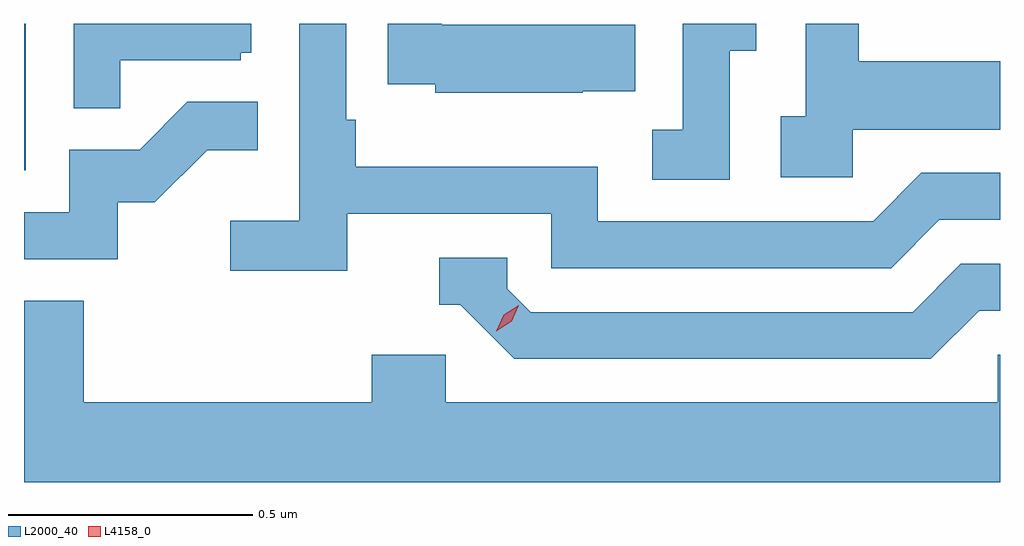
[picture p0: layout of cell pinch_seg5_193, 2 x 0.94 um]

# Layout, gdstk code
import gdstk
lib = gdstk.Library(unit=1e-6, precision=1e-09)
def R(c, l, rs):  # rectangles x0, y0, x1, y1
    for r in rs: c.add(gdstk.rectangle(r[:2], r[2:], *l))
def P(c, l, *ps):  # polygons
    for p in ps: c.add(gdstk.Polygon(p, *l))
L2000_40 = (2000, 40)
L4158_0 = (4158, 0)

pinch_seg5_193 = lib.new_cell('pinch_seg5_193')
R(pinch_seg5_193, L2000_40, [(1131.624,885.372,1131.628,885.672)])
P(pinch_seg5_193, L2000_40, [(1132.769,885.533),(1132.877,885.533),(1132.877,885.67),(1132.48,885.67),(1132.48,885.672),(1132.369,885.672),(1132.369,885.548),(1132.467,885.548),(1132.467,885.53),(1132.769,885.53)],
  [(1132.286,885.282),(1132.704,885.282),(1132.704,885.171),(1133.401,885.171),(1133.5,885.27),(1133.624,885.27),(1133.624,885.366),(1133.463,885.366),(1133.364,885.267),(1132.8,885.267),(1132.8,885.379),(1132.304,885.379),(1132.304,885.475),(1132.284,885.475),(1132.284,885.672),(1132.188,885.672),(1132.188,885.268),(1132.047,885.268),(1132.047,885.166),(1132.286,885.166)],
  [(1131.821,885.597),(1132.068,885.597),(1132.068,885.612),(1132.09,885.612),(1132.09,885.672),(1131.726,885.672),(1131.726,885.499),(1131.821,885.499)],
  [(1133.07,885.616),(1133.125,885.616),(1133.125,885.672),(1132.974,885.672),(1132.974,885.455),(1132.911,885.455),(1132.911,885.352),(1133.07,885.352)],
  [(1133.322,885.455),(1133.624,885.455),(1133.624,885.595),(1133.335,885.595),(1133.335,885.672),(1133.226,885.672),(1133.226,885.482),(1133.175,885.482),(1133.175,885.357),(1133.322,885.357)],
  [(1131.816,885.306),(1131.892,885.306),(1131.999,885.413),(1132.103,885.413),(1132.103,885.512),(1131.959,885.512),(1131.861,885.414),(1131.717,885.414),(1131.717,885.285),(1131.624,885.285),(1131.624,885.189),(1131.816,885.189)],
  [(1133.581,885.084),(1133.624,885.084),(1133.624,885.18),(1133.544,885.18),(1133.445,885.081),(1132.662,885.081),(1132.614,885.129),(1132.614,885.192),(1132.475,885.192),(1132.475,885.096),(1132.518,885.096),(1132.629,884.985),(1133.482,884.985)],
  [(1133.624,884.994),(1133.619,884.994),(1133.619,884.896),(1132.488,884.896),(1132.488,884.994),(1132.337,884.994),(1132.337,884.896),(1131.746,884.896),(1131.746,885.104),(1131.624,885.104),(1131.624,884.732),(1133.624,884.732)])
P(pinch_seg5_193, L4158_0, [(1132.592,885.042),(1132.592,885.042),(1132.607,885.075),(1132.638,885.095),(1132.638,885.095),(1132.638,885.095),(1132.623,885.062),(1132.592,885.042)])

lib.write_gds('pinch_seg5_193.gds')
